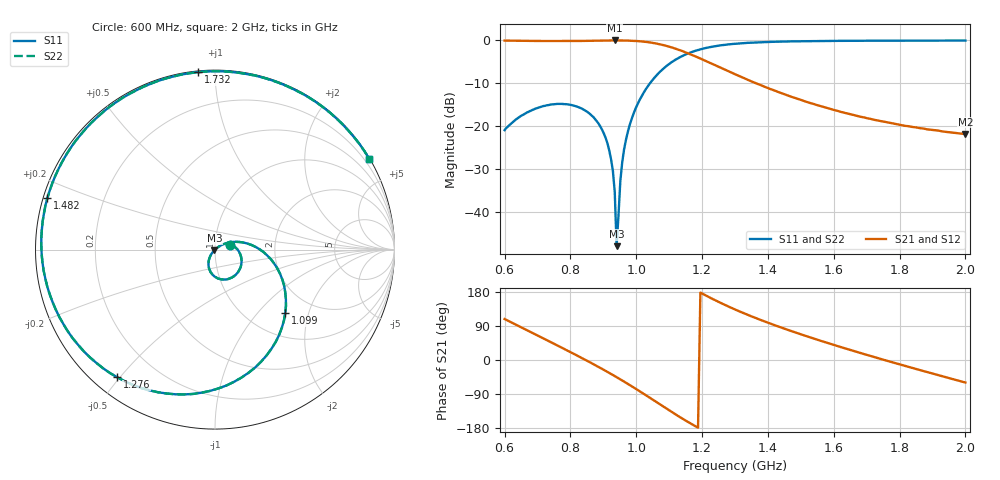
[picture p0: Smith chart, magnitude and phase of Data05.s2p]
! RFSim95 S parameter simulation result
# MHz MA
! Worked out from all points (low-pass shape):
!   202 points, 600 MHz to 2 GHz, reference 50 ohm
!   highest |S21| = 0.00 dB at 934.7 MHz (marker M1); lowest = -21.8 dB at 2 GHz (marker M2)
!   |S21| within 3 dB of the highest: start of sweep to 1.158 GHz
!   lowest |S11| = -48.0 dB at 940.3 MHz (marker M3), VSWR 1.01, Z = 49.7 - j0.28 ohm
!   |S11| at or under -10 dB: start of sweep to 1.041 GHz
!   |S22| runs from -48.0 to 0.0 dB; largest |S21 - S12| = 0
!   S11 on the Smith chart (normalised r, x): 600 MHz: 1.19, +0.07; 1.099 GHz: 1.46, -1.43; 1.276 GHz: 0.07, -0.49; 1.482 GHz: 0.01, +0.15; 1.732 GHz: 0.01, +0.91; 2 GHz: 0.02, +3.66
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600  0.09 18.1  0.996 108.1  0.996 108.1  0.09 18.1
709.5616  0.168 -29.4  0.986 60.6  0.986 60.6  0.168 -29.4
834.1181  0.161 -84.5  0.987 5.5  0.987 5.5  0.161 -84.5
907.0828  0.073 -118.8  0.997 -28.8  0.997 -28.8  0.073 -118.8
923.5302  0.041 -126.9  0.999 -36.9  0.999 -36.9  0.041 -126.9
934.6605  0.017 -132.4  1 -42.4  1 -42.4  0.017 -132.4
940.2758  0.004 -135.3  1 -45.3  1 -45.3  0.004 -135.3
951.6079  0.023 38.9  1 -51.1  1 -51.1  0.023 38.9
974.6834  0.087 26.9  0.996 -63.1  0.996 -63.1  0.087 26.9
1022.527  0.246 0.8  0.969 -89.2  0.969 -89.2  0.246 0.8
1072.718  0.434 -27.5  0.901 -117.5  0.901 -117.5  0.434 -27.5
1098.731  0.528 -42.1  0.849 -132.1  0.849 -132.1  0.528 -42.1
1187.707  0.774 -88.7  0.633 -178.7  0.633 -178.7  0.774 -88.7
1276.221  0.896 -127.4  0.444 142.6  0.444 142.6  0.896 -127.4
1307.168  0.92 -139.3  0.393 130.7  0.393 130.7  0.92 -139.3
1387.859  0.957 -167.6  0.291 102.4  0.291 102.4  0.957 -167.6
1482.384  0.977 163.0  0.214 73.0  0.214 73.0  0.977 163.0
1536.629  0.983 147.3  0.183 57.3  0.183 57.3  0.983 147.3
1631.484  0.99 121.5  0.144 31.5  0.144 31.5  0.99 121.5
1732.195  0.993 95.4  0.117 5.4  0.117 5.4  0.993 95.4
1774.199  0.994 84.9  0.109 -5.1  0.109 -5.1  0.994 84.9
2000  0.997 30.5  0.081 -59.5  0.081 -59.5  0.997 30.5
